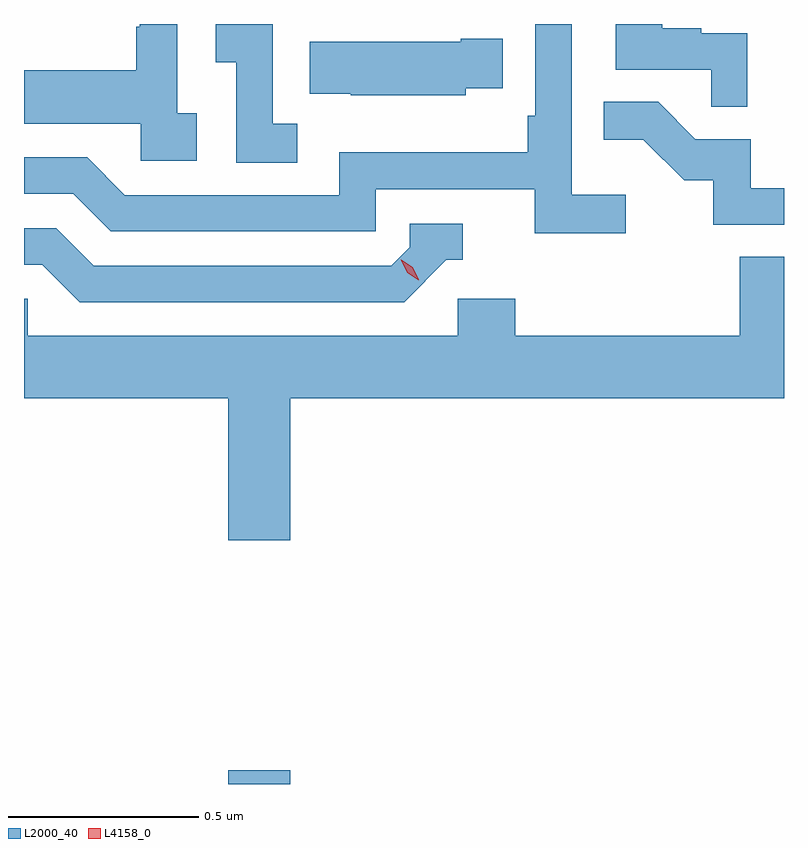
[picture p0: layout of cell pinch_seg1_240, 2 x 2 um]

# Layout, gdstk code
import gdstk
lib = gdstk.Library(unit=1e-6, precision=1e-09)
def R(c, l, rs):  # rectangles x0, y0, x1, y1
    for r in rs: c.add(gdstk.rectangle(r[:2], r[2:], *l))
def P(c, l, *ps):  # polygons
    for p in ps: c.add(gdstk.Polygon(p, *l))
L2000_40 = (2000, 40)
L4158_0 = (4158, 0)

pinch_seg1_240 = lib.new_cell('pinch_seg1_240')
R(pinch_seg1_240, L2000_40, [(968.204,574.693,968.368,574.729)])
P(pinch_seg1_240, L2000_40, [(968.386,576.431),(968.322,576.431),(968.322,576.693),(968.171,576.693),(968.171,576.592),(968.226,576.592),(968.226,576.328),(968.386,576.328)],
  [(969.25,576.244),(969.108,576.244),(969.108,576.693),(969.012,576.693),(969.012,576.451),(968.992,576.451),(968.992,576.355),(968.496,576.355),(968.496,576.243),(967.932,576.243),(967.833,576.342),(967.667,576.342),(967.667,576.246),(967.796,576.246),(967.895,576.147),(968.592,576.147),(968.592,576.258),(969.011,576.258),(969.011,576.142),(969.25,576.142)],
  [(969.57,576.669),(969.449,576.669),(969.449,576.682),(969.346,576.682),(969.346,576.693),(969.224,576.693),(969.224,576.573),(969.475,576.573),(969.475,576.475),(969.57,576.475)],
  [(968.122,576.458),(968.07,576.458),(968.07,576.693),(967.972,576.693),(967.972,576.686),(967.962,576.686),(967.962,576.571),(967.667,576.571),(967.667,576.431),(967.974,576.431),(967.974,576.333),(968.122,576.333)],
  [(968.829,576.524),(968.927,576.524),(968.927,576.654),(968.816,576.654),(968.816,576.646),(968.419,576.646),(968.419,576.509),(968.527,576.509),(968.527,576.506),(968.829,576.506)],
  [(969.667,576.261),(969.579,576.261),(969.579,576.39),(969.434,576.39),(969.336,576.488),(969.193,576.488),(969.193,576.389),(969.297,576.389),(969.404,576.282),(969.481,576.282),(969.481,576.165),(969.667,576.165)],
  [(968.778,576.072),(968.821,576.072),(968.821,576.168),(968.682,576.168),(968.682,576.105),(968.634,576.057),(967.851,576.057),(967.752,576.156),(967.667,576.156),(967.667,576.06),(967.715,576.06),(967.814,575.961),(968.667,575.961)],
  [(968.368,575.708),(969.667,575.708),(969.667,576.08),(969.551,576.08),(969.551,575.872),(968.96,575.872),(968.96,575.97),(968.808,575.97),(968.808,575.872),(967.677,575.872),(967.677,575.97),(967.667,575.97),(967.667,575.708),(968.204,575.708),(968.204,575.334),(968.368,575.334)])
P(pinch_seg1_240, L4158_0, [(968.706,576.019),(968.675,576.039),(968.659,576.073),(968.659,576.073),(968.66,576.073),(968.69,576.053),(968.706,576.02),(968.706,576.019)])

lib.write_gds('pinch_seg1_240.gds')
